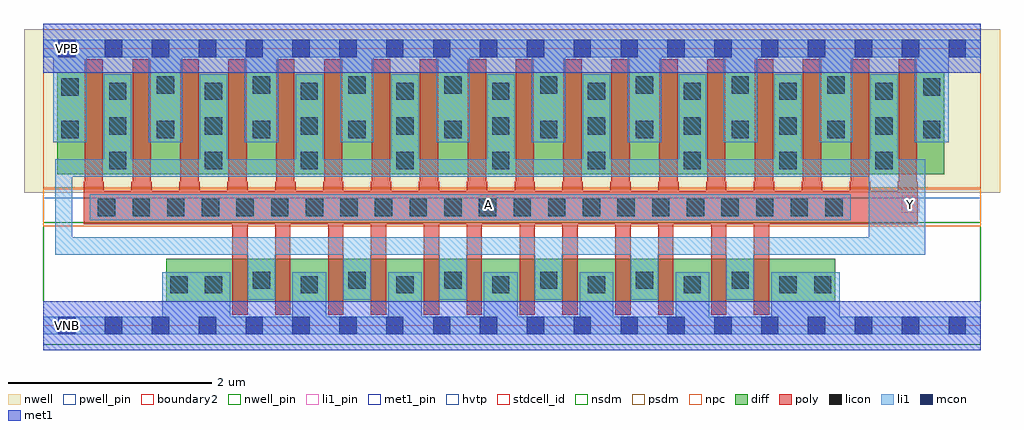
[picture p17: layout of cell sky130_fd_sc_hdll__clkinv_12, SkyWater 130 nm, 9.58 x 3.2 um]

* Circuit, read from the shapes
.subckt sky130_fd_sc_hdll__clkinv_12 A VGND VNB VPB VPWR Y
XM1 Y A VGND VNB sky130_fd_pr__nfet_01v8 w=0.42 l=0.15 m=12
XM2 Y A VPWR VPB sky130_fd_pr__pfet_01v8_hvt w=1 l=0.18 m=18
.ends

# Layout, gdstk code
import gdstk
lib = gdstk.Library(unit=1e-6, precision=1e-09)
def R(c, l, rs):  # rectangles x0, y0, x1, y1
    for r in rs: c.add(gdstk.rectangle(r[:2], r[2:], *l))
def A(c, l, x, y, w, h, nx, ny, dx, dy):  # array of equal rectangles
    R(c, l, [(x+i*dx, y+j*dy, x+i*dx+w, y+j*dy+h) for i in range(nx) for j in range(ny)])
def P(c, l, *ps):  # polygons
    for p in ps: c.add(gdstk.Polygon(p, *l))
nwell_pin = (64, 16)
nwell = (64, 20)
diff = (65, 20)
poly = (66, 20)
licon = (66, 44)
li1_pin = (67, 16)
li1 = (67, 20)
mcon = (67, 44)
met1_pin = (68, 16)
met1 = (68, 20)
hvtp = (78, 44)
stdcell_id = (81, 4)
nsdm = (93, 44)
psdm = (94, 20)
npc = (95, 20)
pwell_pin = (122, 16)
boundary2 = (236, 0)

sky130_fd_sc_hdll__clkin = lib.new_cell('sky130_fd_sc_hdll__clkinv_12')
R(sky130_fd_sc_hdll__clkin, nwell_pin, [(0.15,2.635,0.32,2.805)])
R(sky130_fd_sc_hdll__clkin, nwell, [(-0.19,1.305,9.39,2.91)])
R(sky130_fd_sc_hdll__clkin, diff, [(1.205,0.235,7.775,0.655), (0.135,1.485,8.845,2.485)])
P(sky130_fd_sc_hdll__clkin, poly, [(8.585,1.41),(8.575,1.41),(8.575,2.615),(8.395,2.615),(8.395,1.41),(8.385,1.41),(8.385,1.325),(8.115,1.325),(8.115,1.41),(8.105,1.41),(8.105,2.615),(7.925,2.615),(7.925,1.41),(7.915,1.41),(7.915,1.325),(7.645,1.325),(7.645,1.41),(7.635,1.41),(7.635,2.615),(7.455,2.615),(7.455,1.41),(7.445,1.41),(7.445,1.325),(7.175,1.325),(7.175,1.41),(7.165,1.41),(7.165,2.615),(6.985,2.615),(6.985,1.41),(6.975,1.41),(6.975,1.325),(6.705,1.325),(6.705,1.41),(6.695,1.41),(6.695,2.615),(6.515,2.615),(6.515,1.41),(6.505,1.41),(6.505,1.325),(6.235,1.325),(6.235,1.41),(6.225,1.41),(6.225,2.615),(6.045,2.615),(6.045,1.41),(6.035,1.41),(6.035,1.325),(5.765,1.325),(5.765,1.41),(5.755,1.41),(5.755,2.615),(5.575,2.615),(5.575,1.41),(5.565,1.41),(5.565,1.325),(5.295,1.325),(5.295,1.41),(5.285,1.41),(5.285,2.615),(5.105,2.615),(5.105,1.41),(5.095,1.41),(5.095,1.325),(4.825,1.325),(4.825,1.41),(4.815,1.41),(4.815,2.615),(4.635,2.615),(4.635,1.41),(4.625,1.41),(4.625,1.325),(4.355,1.325),(4.355,1.41),(4.345,1.41),(4.345,2.615),(4.165,2.615),(4.165,1.41),(4.155,1.41),(4.155,1.325),(3.885,1.325),(3.885,1.41),(3.875,1.41),(3.875,2.615),(3.695,2.615),(3.695,1.41),(3.685,1.41),(3.685,1.325),(3.415,1.325),(3.415,1.41),(3.405,1.41),(3.405,2.615),(3.225,2.615),(3.225,1.41),(3.215,1.41),(3.215,1.325),(2.945,1.325),(2.945,1.41),(2.935,1.41),(2.935,2.615),(2.755,2.615),(2.755,1.41),(2.745,1.41),(2.745,1.325),(2.475,1.325),(2.475,1.41),(2.465,1.41),(2.465,2.615),(2.285,2.615),(2.285,1.41),(2.275,1.41),(2.275,1.325),(2.005,1.325),(2.005,1.41),(1.995,1.41),(1.995,2.615),(1.815,2.615),(1.815,1.41),(1.805,1.41),(1.805,1.325),(1.535,1.325),(1.535,1.41),(1.525,1.41),(1.525,2.615),(1.345,2.615),(1.345,1.41),(1.335,1.41),(1.335,1.325),(1.065,1.325),(1.065,1.41),(1.055,1.41),(1.055,2.615),(0.875,2.615),(0.875,1.41),(0.865,1.41),(0.865,1.325),(0.595,1.325),(0.595,1.41),(0.585,1.41),(0.585,2.615),(0.405,2.615),(0.405,1.41),(0.395,1.41),(0.395,0.995),(1.855,0.995),(1.855,0.105),(2.005,0.105),(2.005,0.995),(2.275,0.995),(2.275,0.105),(2.425,0.105),(2.425,0.995),(2.795,0.995),(2.795,0.105),(2.945,0.105),(2.945,0.995),(3.215,0.995),(3.215,0.105),(3.365,0.105),(3.365,0.995),(3.735,0.995),(3.735,0.105),(3.885,0.105),(3.885,0.995),(4.155,0.995),(4.155,0.105),(4.305,0.105),(4.305,0.995),(4.675,0.995),(4.675,0.105),(4.825,0.105),(4.825,0.995),(5.095,0.995),(5.095,0.105),(5.245,0.105),(5.245,0.995),(5.615,0.995),(5.615,0.105),(5.765,0.105),(5.765,0.995),(6.035,0.995),(6.035,0.105),(6.185,0.105),(6.185,0.995),(6.555,0.995),(6.555,0.105),(6.705,0.105),(6.705,0.995),(6.975,0.995),(6.975,0.105),(7.125,0.105),(7.125,0.995),(8.585,0.995)])
A(sky130_fd_sc_hdll__clkin, licon, 1.585, 0.315, 0.17, 0.17, 7, 1, 0.94, 0)
A(sky130_fd_sc_hdll__clkin, licon, 2.055, 0.36, 0.17, 0.17, 6, 1, 0.94, 0)
A(sky130_fd_sc_hdll__clkin, licon, 0.535, 1.075, 0.17, 0.17, 22, 1, 0.34, 0)
A(sky130_fd_sc_hdll__clkin, licon, 0.645, 1.535, 0.17, 0.17, 9, 3, 0.94, 0.34)
A(sky130_fd_sc_hdll__clkin, licon, 0.175, 1.84, 0.17, 0.17, 10, 1, 0.94, 0)
A(sky130_fd_sc_hdll__clkin, licon, 1.115, 2.275, 0.17, 0.17, 8, 1, 0.94, 0)
R(sky130_fd_sc_hdll__clkin, licon, [(1.245,0.315,1.415,0.485), (7.565,0.315,7.735,0.485), (0.175,2.255,0.345,2.425), (8.635,2.255,8.805,2.425)])
R(sky130_fd_sc_hdll__clkin, li1_pin, [(4.285,1.105,4.455,1.275), (8.425,1.105,8.595,1.275)])
R(sky130_fd_sc_hdll__clkin, li1, [(0.455,1.035,7.925,1.29)])
P(sky130_fd_sc_hdll__clkin, li1, [(8.655,1.63),(8.385,1.63),(8.385,2.465),(8.115,2.465),(8.115,1.63),(8.1,1.63),(8.1,0.865),(0.285,0.865),(0.285,1.46),(8.1,1.46),(8.1,1.63),(7.445,1.63),(7.445,2.465),(7.175,2.465),(7.175,1.63),(6.505,1.63),(6.505,2.465),(6.235,2.465),(6.235,1.63),(5.565,1.63),(5.565,2.465),(5.295,2.465),(5.295,1.63),(4.625,1.63),(4.625,2.465),(4.355,2.465),(4.355,1.63),(3.685,1.63),(3.685,2.465),(3.415,2.465),(3.415,1.63),(2.745,1.63),(2.745,2.465),(2.475,2.465),(2.475,1.63),(1.805,1.63),(1.805,2.465),(1.535,2.465),(1.535,1.63),(0.865,1.63),(0.865,2.465),(0.595,2.465),(0.595,1.63),(0.115,1.63),(0.115,0.695),(2.005,0.695),(2.005,0.255),(2.275,0.255),(2.275,0.695),(2.945,0.695),(2.945,0.255),(3.215,0.255),(3.215,0.695),(3.885,0.695),(3.885,0.255),(4.155,0.255),(4.155,0.695),(4.825,0.695),(4.825,0.255),(5.095,0.255),(5.095,0.695),(5.765,0.695),(5.765,0.255),(6.035,0.255),(6.035,0.695),(6.705,0.695),(6.705,0.255),(6.975,0.255),(6.975,0.695),(8.655,0.695)],
  [(9.2,2.805),(0,2.805),(0,2.635),(0.095,2.635),(0.095,1.8),(0.425,1.8),(0.425,2.635),(1.035,2.635),(1.035,1.8),(1.365,1.8),(1.365,2.635),(1.975,2.635),(1.975,1.8),(2.305,1.8),(2.305,2.635),(2.915,2.635),(2.915,1.8),(3.245,1.8),(3.245,2.635),(3.855,2.635),(3.855,1.8),(4.185,1.8),(4.185,2.635),(4.795,2.635),(4.795,1.8),(5.125,1.8),(5.125,2.635),(5.735,2.635),(5.735,1.8),(6.065,1.8),(6.065,2.635),(6.675,2.635),(6.675,1.8),(7.005,1.8),(7.005,2.635),(7.615,2.635),(7.615,1.8),(7.945,1.8),(7.945,2.635),(8.555,2.635),(8.555,1.8),(8.885,1.8),(8.885,2.635),(9.2,2.635)],
  [(9.2,0.085),(7.815,0.085),(7.815,0.525),(7.145,0.525),(7.145,0.085),(6.535,0.085),(6.535,0.525),(6.205,0.525),(6.205,0.085),(5.595,0.085),(5.595,0.525),(5.265,0.525),(5.265,0.085),(4.655,0.085),(4.655,0.525),(4.325,0.525),(4.325,0.085),(3.715,0.085),(3.715,0.525),(3.385,0.525),(3.385,0.085),(2.775,0.085),(2.775,0.525),(2.445,0.525),(2.445,0.085),(1.835,0.085),(1.835,0.525),(1.165,0.525),(1.165,0.085),(0,0.085),(0,-0.085),(9.2,-0.085)])
A(sky130_fd_sc_hdll__clkin, mcon, 0.145, -0.085, 0.17, 0.17, 20, 2, 0.46, 2.72)
R(sky130_fd_sc_hdll__clkin, met1_pin, [(0.15,-0.085,0.32,0.085), (0.15,2.635,0.32,2.805)])
R(sky130_fd_sc_hdll__clkin, met1, [(0,-0.24,9.2,0.24), (0,2.48,9.2,2.96)])
R(sky130_fd_sc_hdll__clkin, hvtp, [(0,1.25,9.2,2.72)])
R(sky130_fd_sc_hdll__clkin, stdcell_id, [(0,0,9.2,2.72)])
R(sky130_fd_sc_hdll__clkin, nsdm, [(0,-0.19,9.2,1.015)])
R(sky130_fd_sc_hdll__clkin, psdm, [(0,1.355,9.2,2.91)])
R(sky130_fd_sc_hdll__clkin, npc, [(0,0.975,9.2,1.345)])
R(sky130_fd_sc_hdll__clkin, pwell_pin, [(0.15,-0.085,0.32,0.085)])
R(sky130_fd_sc_hdll__clkin, boundary2, [(0,0,9.2,2.72)])
sky130_fd_sc_hdll__clkin.add(gdstk.Label('Y', (8.51,1.19), layer=67, texttype=5))
sky130_fd_sc_hdll__clkin.add(gdstk.Label('A', (4.37,1.19), layer=67, texttype=5))
sky130_fd_sc_hdll__clkin.add(gdstk.Label('VNB', (0.235,0), layer=64, texttype=59))
sky130_fd_sc_hdll__clkin.add(gdstk.Label('VPB', (0.235,2.72), layer=64, texttype=5))
sky130_fd_sc_hdll__clkin.add(gdstk.Label('VGND', (0.23,0), layer=68, texttype=5))
sky130_fd_sc_hdll__clkin.add(gdstk.Label('VPWR', (0.23,2.72), layer=68, texttype=5))
sky130_fd_sc_hdll__clkin.add(gdstk.Label('clkinv_12', (0,0), layer=83, texttype=44))

lib.write_gds('sky130_fd_sc_hdll__clkinv_12.gds')
